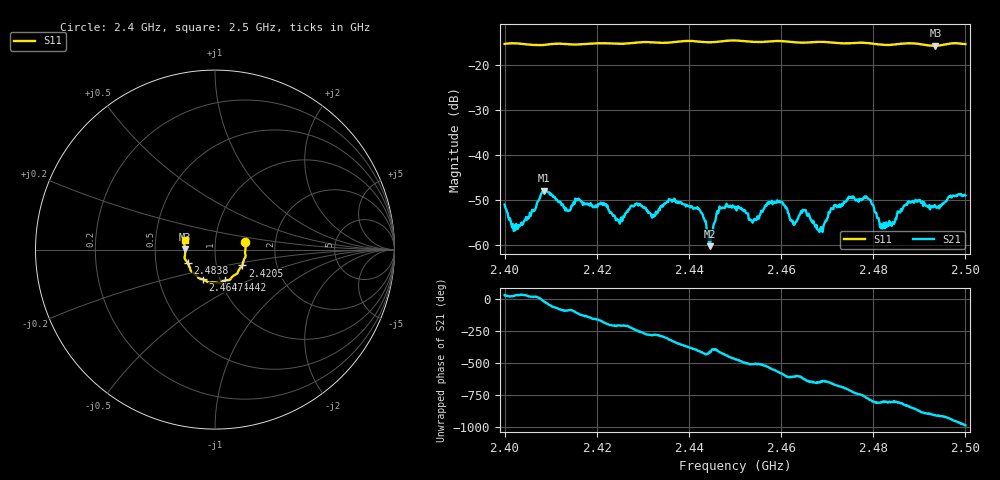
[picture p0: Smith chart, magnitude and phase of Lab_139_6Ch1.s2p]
# Hz S RI R 50
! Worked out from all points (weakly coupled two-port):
!   601 points, 2.4 GHz to 2.5 GHz, reference 50 ohm
!   highest |S21| = -47.88 dB at 2.4085 GHz (marker M1); lowest = -60.3 dB at 2.4445 GHz (marker M2)
!   lowest |S11| = -15.6 dB at 2.4935 GHz (marker M3), VSWR 1.40, Z = 35.8 + j0.136 ohm
!   |S11| at or under -10 dB: start of sweep to end of sweep
!   S12 and S22 are empty: the file has one direction only
!   S11 on the Smith chart (normalised r, x): 2.4 GHz: 1.40, +0.12; 2.4205 GHz: 1.34, -0.24; 2.4442 GHz: 1.06, -0.37; 2.4647 GHz: 0.83, -0.29; 2.4838 GHz: 0.73, -0.11; 2.5 GHz: 0.71, +0.07
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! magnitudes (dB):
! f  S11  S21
! 2.4 GHz  -15.2  -51.0
! 2.4025 GHz  -15.1  -55.3
! 2.4085 GHz  -15.4  -47.9
! 2.4167 GHz  -15.3  -50.4
! 2.4205 GHz  -15.1  -50.9
! 2.4247 GHz  -15.2  -54.5
! 2.4333 GHz  -15.0  -52.5
! 2.4418 GHz  -14.7  -51.6
! 2.4442 GHz  -14.9  -57.4
! 2.4445 GHz  -14.8  -60.3
! 2.4465 GHz  -14.7  -52.3
! 2.45 GHz  -14.5  -51.8
! 2.4647 GHz  -14.9  -52.2
! 2.4667 GHz  -14.8  -54.5
! 2.4685 GHz  -14.8  -56.4
! 2.4713 GHz  -14.9  -52.0
! 2.4783 GHz  -15.0  -49.5
! 2.4833 GHz  -15.5  -55.7
! 2.4838 GHz  -15.4  -55.4
! 2.488 GHz  -15.1  -50.6
! 2.4935 GHz  -15.6  -51.3
! 2.5 GHz  -15.3  -49.0
